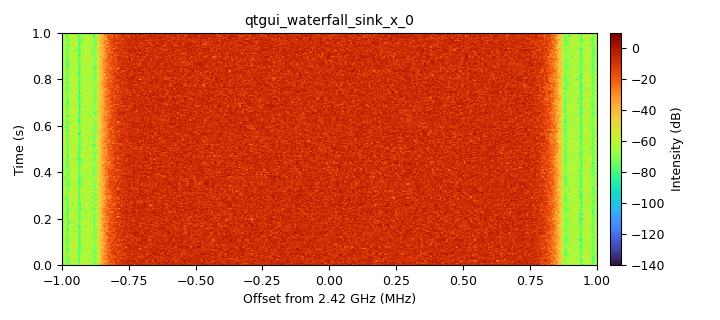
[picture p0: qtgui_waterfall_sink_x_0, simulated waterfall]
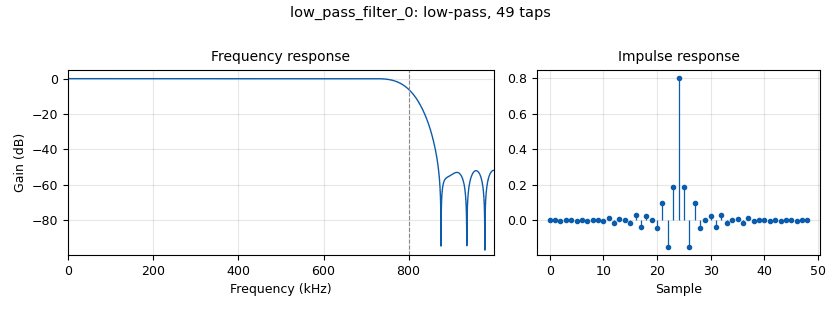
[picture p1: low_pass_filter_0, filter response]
options:
  parameters:
    generate_options: qt_gui
    id: noisepe
    output_language: python
    title: Not titled yet
  states: {}

blocks:
- name: samp_rate
  id: variable
  parameters:
    value: '2000000'
  states: {}
- name: slider
  id: variable_qtgui_range
  parameters:
    orient: Qt.Horizontal
    start: 100e3
    step: 50e3
    stop: 1e6
    value: 800e3
  states: {}
- name: slider1
  id: variable_qtgui_range
  parameters:
    orient: Qt.Horizontal
    start: 1.8e9
    step: 10e3
    stop: 3e9
    value: 2.42e9
  states: {}
- name: tr_width
  id: variable_qtgui_range
  parameters:
    orient: Qt.Horizontal
    start: 100e3
    step: 50e3
    stop: 1e6
    value: 100e3
  states: {}
- name: analog_noise_source_x_0
  id: analog_noise_source_x
  parameters:
    amp: '45'
    noise_type: analog.GR_UNIFORM
    seed: '0'
    type: complex
  states: {}
- name: low_pass_filter_0
  id: low_pass_filter
  parameters:
    cutoff_freq: slider
    decim: '1'
    gain: '1'
    samp_rate: samp_rate
    type: fir_filter_ccf
    width: tr_width
    win: firdes.WIN_HAMMING
  states: {}
- name: osmosdr_sink_0
  id: osmosdr_sink
  parameters:
    bb_gain0: '0'
    freq0: slider1
    gain0: '0'
    if_gain0: '47'
    sample_rate: samp_rate
    sync: sync
    type: fc32
  states: {}
- name: qtgui_waterfall_sink_x_0
  id: qtgui_waterfall_sink_x
  parameters:
    bw: samp_rate
    fc: slider1
    fftsize: '1024'
    type: complex
    wintype: firdes.WIN_BLACKMAN_hARRIS
  states: {}

connections:
- [analog_noise_source_x_0, '0', low_pass_filter_0, '0']
- [low_pass_filter_0, '0', osmosdr_sink_0, '0']
- [low_pass_filter_0, '0', qtgui_waterfall_sink_x_0, '0']

metadata:
  file_format: 1
